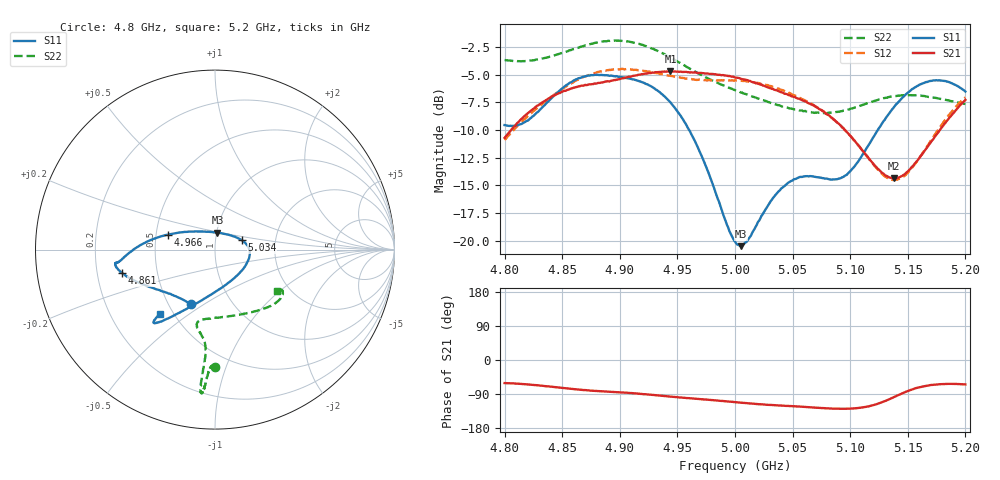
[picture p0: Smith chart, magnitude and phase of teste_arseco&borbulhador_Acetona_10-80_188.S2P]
! Network Analyzer HP8722D
! Hewlett-Packard
! Data name: Linha & Wilkinson
! Saver's name: Rodrigo Anjos
! Comments: Teste da utilização de aquisição
! continua pelo VNA HP8722D
! Time and date: 17/4/2025 15:55
!  Frequency  S11  S21  S12  S22
# HZ  S  MA R 50
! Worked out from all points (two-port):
!   401 points, 4.8 GHz to 5.2 GHz, reference 50 ohm
!   highest |S21| = -4.68 dB at 4.944 GHz (marker M1); lowest = -14.4 dB at 5.138 GHz (marker M2)
!   |S21| within 3 dB of the highest: 4.83 GHz to 5.066 GHz (236.2 MHz wide, 4.77 % of centre); 5.19603 GHz to end of sweep
!   lowest |S11| = -20.5 dB at 5.005 GHz (marker M3), VSWR 1.21, Z = 50.4 + j9.52 ohm
!   |S11| at or under -10 dB: 4.96 GHz to 5.124 GHz (163.6 MHz wide, 3.24 % of centre)
!   |S22| runs from -8.5 to -1.9 dB; largest |S21 - S12| = 0.88
!   S11 on the Smith chart (normalised r, x): 4.8 GHz: 0.64, -0.44; 4.861 GHz: 0.31, -0.11; 4.966 GHz: 0.58, +0.10; 5.034 GHz: 1.34, +0.15; 5.2 GHz: 0.42, -0.39
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4.8e9  0.3333 -113.6  0.2917 -60.9  0.2855 -175.0  0.6564 -90.1
4.819e9  0.3482 -133.6  0.3726 -64.1  0.3606 -173.8  0.6511 -91.7
4.861e9  0.5333 -165.6  0.4928 -77.0  0.5267 -176.9  0.7374 -93.9
4.867e9  0.5483 -168.0  0.5027 -78.9  0.5445 -178.1  0.7562 -94.0
4.9e9  0.551 -172.5  0.5382 -85.5  0.5954 175.3  0.8024 -95.5
4.934e9  0.4725 -178.3  0.5788 -93.7  0.5714 171.7  0.7155 -95.8
4.944e9  0.422 177.1  0.5833 -96.6  0.5566 171.7  0.6733 -95.6
4.966e9  0.2765 162.6  0.5767 -102.1  0.5343 173.8  0.5792 -95.0
5e9  0.09913 99.8  0.5471 -111.2  0.5313 176.1  0.4794 -99.2
5.005e9  0.09444 81.9  0.5395 -112.6  0.5281 176.1  0.468 -100.4
5.012e9  0.1022 58.9  0.5288 -114.5  0.5245 175.8  0.4552 -101.8
5.034e9  0.1582 19.5  0.4822 -119.2  0.4944 174.8  0.4149 -103.5
5.049e9  0.1863 4.3  0.4494 -121.8  0.4603 174.1  0.3957 -99.8
5.067e9  0.1955 -14.9  0.4112 -125.0  0.4148 173.7  0.3799 -90.5
5.086e9  0.1893 -45.1  0.3528 -128.2  0.3521 173.8  0.3809 -76.1
5.097e9  0.1985 -67.5  0.3098 -128.6  0.3107 174.7  0.3905 -67.1
5.134e9  0.3774 -116.9  0.1931 -103.6  0.1902 -156.5  0.447 -43.0
5.138e9  0.4022 -119.2  0.1914 -97.9  0.1883 -150.0  0.45 -41.2
5.15e9  0.4669 -124.6  0.2056 -82.1  0.2029 -131.7  0.4553 -36.8
5.17e9  0.528 -129.2  0.2784 -66.1  0.2838 -112.3  0.4462 -32.1
5.184e9  0.5244 -130.5  0.3492 -63.2  0.3604 -107.5  0.4323 -31.1
5.2e9  0.4726 -130.8  0.4331 -64.5  0.4453 -106.6  0.415 -33.5
